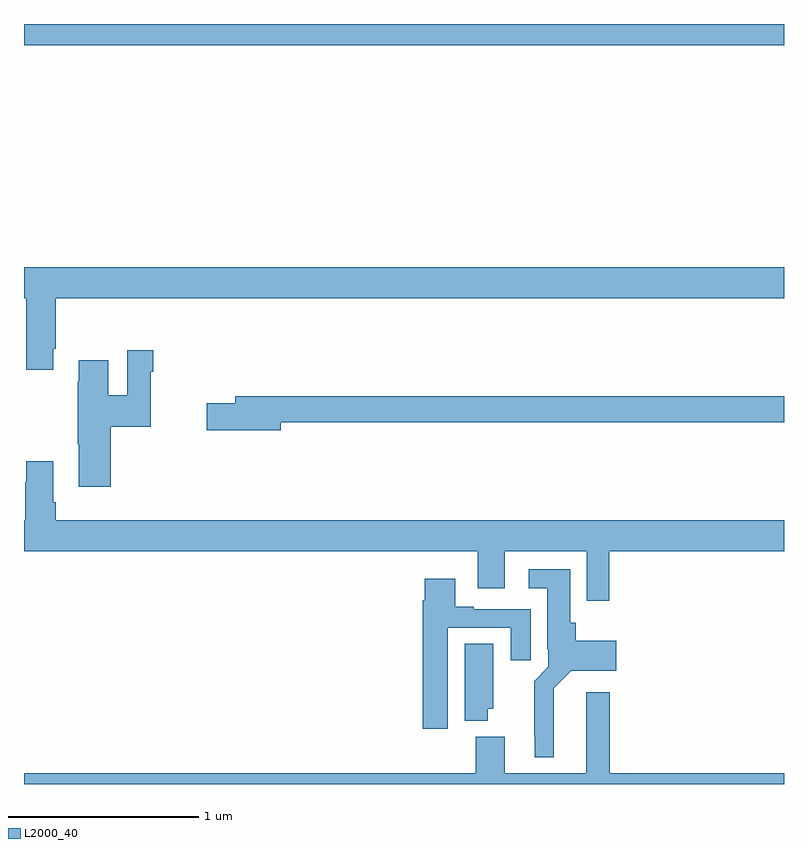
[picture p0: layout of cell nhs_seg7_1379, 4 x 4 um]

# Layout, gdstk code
import gdstk
lib = gdstk.Library(unit=1e-6, precision=1e-09)
def R(c, l, rs):  # rectangles x0, y0, x1, y1
    for r in rs: c.add(gdstk.rectangle(r[:2], r[2:], *l))
def P(c, l, *ps):  # polygons
    for p in ps: c.add(gdstk.Polygon(p, *l))
L2000_40 = (2000, 40)

nhs_seg7_1379 = lib.new_cell('nhs_seg7_1379')
R(nhs_seg7_1379, L2000_40, [(205,1061.888,209,1062)])
P(nhs_seg7_1379, L2000_40, [(205.153,1060.291),(205.166,1060.291),(205.166,1060.556),(209,1060.556),(209,1060.72),(205,1060.72),(205,1060.556),(205.013,1060.556),(205.013,1060.179),(205.153,1060.179)],
  [(205.457,1059.881),(205.666,1059.881),(205.666,1060.169),(205.679,1060.169),(205.679,1060.282),(205.544,1060.282),(205.544,1060.046),(205.444,1060.046),(205.444,1060.231),(205.289,1060.231),(205.289,1060.118),(205.282,1060.118),(205.282,1059.787),(205.289,1059.787),(205.289,1059.564),(205.457,1059.564)],
  [(206.35,1059.904),(209,1059.904),(209,1060.04),(206.111,1060.04),(206.111,1060.004),(205.962,1060.004),(205.962,1059.862),(206.35,1059.862)],
  [(208.079,1059.224),(209,1059.224),(209,1059.388),(205.166,1059.388),(205.166,1059.484),(205.153,1059.484),(205.153,1059.7),(205.013,1059.7),(205.013,1059.587),(205.006,1059.587),(205.006,1059.388),(205,1059.388),(205,1059.224),(207.389,1059.224),(207.389,1059.03),(207.529,1059.03),(207.529,1059.224),(207.963,1059.224),(207.963,1058.964),(208.079,1058.964)],
  [(207.787,1058.504),(207.879,1058.597),(208.117,1058.597),(208.117,1058.755),(207.905,1058.755),(207.905,1058.85),(207.874,1058.85),(207.874,1059.13),(207.657,1059.13),(207.657,1059.029),(207.755,1059.029),(207.755,1058.71),(207.759,1058.71),(207.759,1058.616),(207.685,1058.542),(207.685,1058.251),(207.689,1058.251),(207.689,1058.141),(207.787,1058.141)],
  [(207.229,1058.823),(207.563,1058.823),(207.563,1058.652),(207.667,1058.652),(207.667,1058.919),(207.367,1058.919),(207.367,1058.932),(207.271,1058.932),(207.271,1059.079),(207.11,1059.079),(207.11,1058.966),(207.098,1058.966),(207.098,1058.292),(207.229,1058.292)],
  [(207.442,1058.397),(207.469,1058.397),(207.469,1058.738),(207.32,1058.738),(207.32,1058.333),(207.442,1058.333)],
  [(209,1058.056),(208.082,1058.056),(208.082,1058.482),(207.959,1058.482),(207.959,1058.056),(207.529,1058.056),(207.529,1058.248),(207.377,1058.248),(207.377,1058.056),(205,1058.056),(205,1058),(209,1058)])

lib.write_gds('nhs_seg7_1379.gds')
